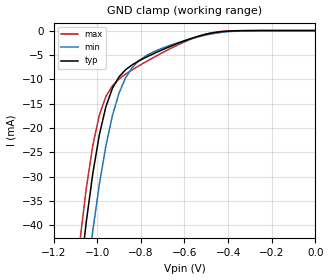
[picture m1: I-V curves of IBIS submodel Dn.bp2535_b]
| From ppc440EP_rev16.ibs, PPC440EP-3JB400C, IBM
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[Submodel]  Dn.bp2535_b
Submodel_type   Dynamic_clamp
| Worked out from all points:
|   GND clamp passes 1 mA (typ) near -0.52 V on its own axis
[GND Clamp]   | Note: Vtable =  Vout
| Voltage   I(typ)   I(min)   I(max)
-2.7V     -1.086A    -1.045A    -1.111A
-1.08V    -51.04mA   -63.88mA   -43.61mA
-1.05V    -39.32mA   -51.89mA   -32.41mA
-1.02V    -29.33mA   -41.06mA   -23.56mA
-990mV    -21.38mA   -31.58mA   -17.35mA
-960mV    -15.62mA   -23.66mA   -13.53mA
-930mV    -11.84mA   -17.43mA   -11.32mA
-870mV    -8.05mA    -9.696mA   -8.938mA
-810mV    -6.251mA   -6.231mA   -7.264mA
-690mV    -3.716mA   -3.418mA   -4.278mA
-480mV    -548uA     -719uA     -481uA
0V        0A         0A         0A
